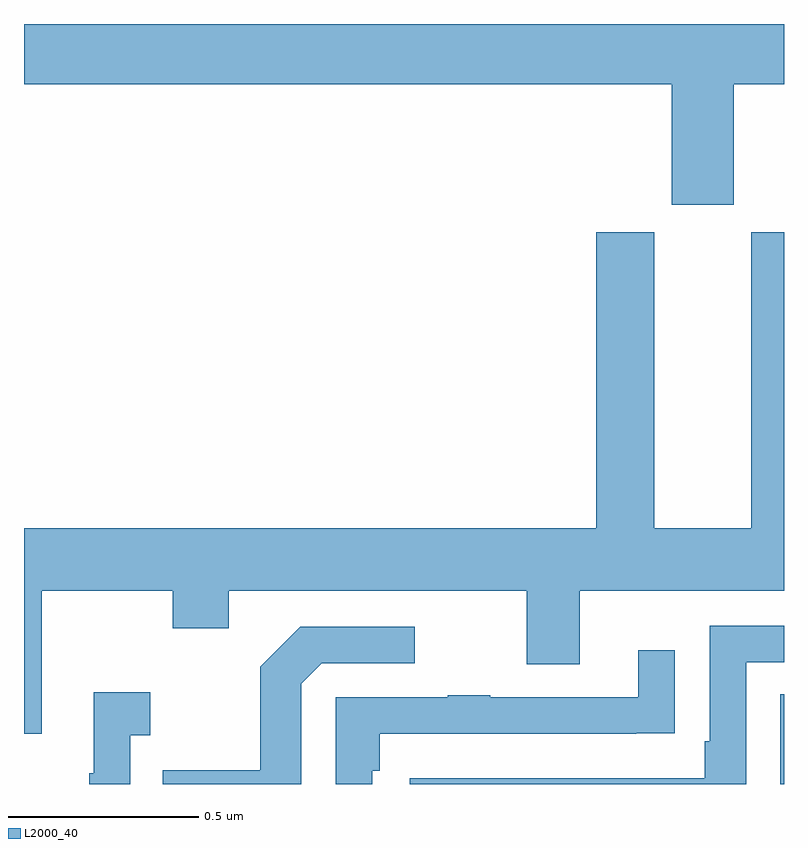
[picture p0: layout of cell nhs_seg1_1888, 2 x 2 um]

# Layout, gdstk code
import gdstk
lib = gdstk.Library(unit=1e-6, precision=1e-09)
def R(c, l, rs):  # rectangles x0, y0, x1, y1
    for r in rs: c.add(gdstk.rectangle(r[:2], r[2:], *l))
def P(c, l, *ps):  # polygons
    for p in ps: c.add(gdstk.Polygon(p, *l))
L2000_40 = (2000, 40)

nhs_seg1_1888 = lib.new_cell('nhs_seg1_1888')
R(nhs_seg1_1888, L2000_40, [(135.99,575.199,136,575.435)])
P(nhs_seg1_1888, L2000_40, [(135.868,577.04),(136,577.04),(136,577.199),(134,577.199),(134,577.04),(135.704,577.04),(135.704,576.723),(135.868,576.723)],
  [(134.047,575.708),(134.392,575.708),(134.392,575.609),(134.539,575.609),(134.539,575.708),(135.323,575.708),(135.323,575.514),(135.463,575.514),(135.463,575.708),(136,575.708),(136,576.651),(135.914,576.651),(135.914,575.872),(135.658,575.872),(135.658,576.651),(135.506,576.651),(135.506,575.872),(134,575.872),(134,575.331),(134.047,575.331)],
  [(135.9,575.52),(136,575.52),(136,575.616),(135.804,575.616),(135.804,575.311),(135.791,575.311),(135.791,575.214),(135.015,575.214),(135.015,575.199),(135.9,575.199)],
  [(134.73,575.463),(134.784,575.517),(135.028,575.517),(135.028,575.613),(134.727,575.613),(134.622,575.507),(134.622,575.235),(134.365,575.235),(134.365,575.199),(134.73,575.199)],
  [(134.916,575.234),(134.936,575.234),(134.936,575.331),(135.611,575.331),(135.611,575.332),(135.713,575.332),(135.713,575.551),(135.617,575.551),(135.617,575.427),(135.227,575.427),(135.227,575.432),(135.115,575.432),(135.115,575.427),(134.82,575.427),(134.82,575.199),(134.916,575.199)],
  [(134.28,575.327),(134.332,575.327),(134.332,575.44),(134.183,575.44),(134.183,575.227),(134.172,575.227),(134.172,575.199),(134.28,575.199)])

lib.write_gds('nhs_seg1_1888.gds')
